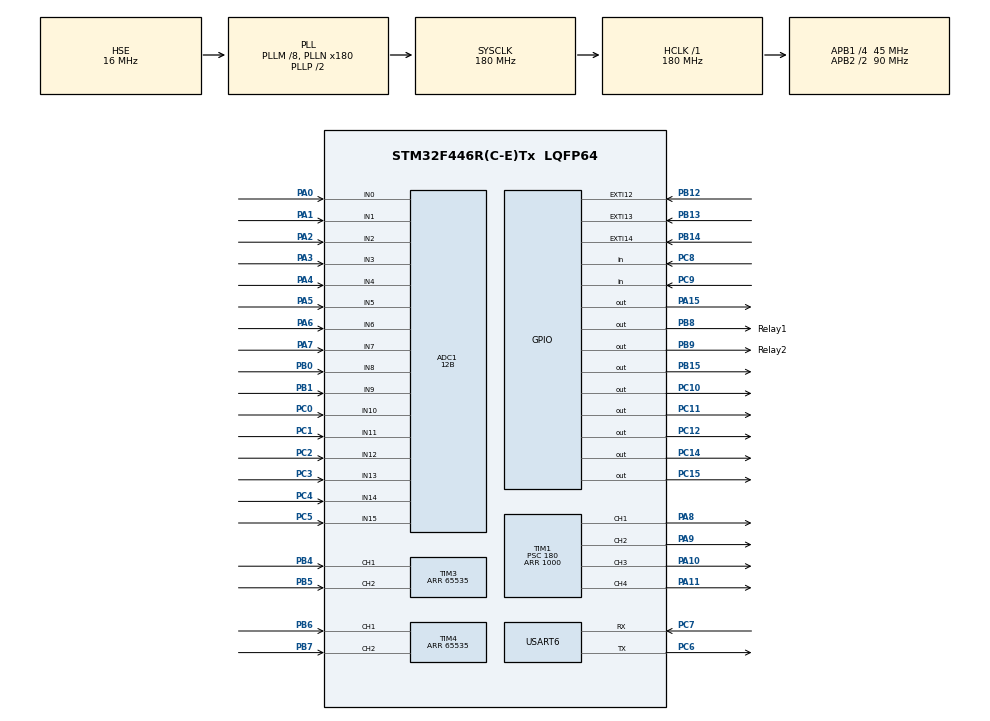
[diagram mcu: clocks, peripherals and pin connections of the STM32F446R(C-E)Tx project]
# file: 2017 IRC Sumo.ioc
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ADC1.Channel-0\#ChannelRegularConversion=ADC_CHANNEL_0
ADC1.Channel-1\#ChannelRegularConversion=ADC_CHANNEL_1
ADC1.Channel-10\#ChannelRegularConversion=ADC_CHANNEL_10
ADC1.Channel-11\#ChannelRegularConversion=ADC_CHANNEL_11
ADC1.Channel-12\#ChannelRegularConversion=ADC_CHANNEL_12
ADC1.Channel-13\#ChannelRegularConversion=ADC_CHANNEL_13
ADC1.Channel-14\#ChannelRegularConversion=ADC_CHANNEL_14
ADC1.Channel-15\#ChannelRegularConversion=ADC_CHANNEL_15
ADC1.Channel-2\#ChannelRegularConversion=ADC_CHANNEL_2
ADC1.Channel-3\#ChannelRegularConversion=ADC_CHANNEL_3
ADC1.Channel-4\#ChannelRegularConversion=ADC_CHANNEL_4
ADC1.Channel-5\#ChannelRegularConversion=ADC_CHANNEL_5
ADC1.Channel-6\#ChannelRegularConversion=ADC_CHANNEL_6
ADC1.Channel-7\#ChannelRegularConversion=ADC_CHANNEL_7
ADC1.Channel-8\#ChannelRegularConversion=ADC_CHANNEL_8
ADC1.Channel-9\#ChannelRegularConversion=ADC_CHANNEL_9
ADC1.ClockPrescaler=ADC_CLOCK_SYNC_PCLK_DIV4
ADC1.ContinuousConvMode=ENABLE
ADC1.DMAContinuousRequests=ENABLE
ADC1.DataAlign=ADC_DATAALIGN_RIGHT
ADC1.DiscontinuousConvMode=DISABLE
ADC1.EOCSelection=ADC_EOC_SINGLE_CONV
ADC1.EnableAnalogWatchDog=false
ADC1.ExternalTrigConv=ADC_SOFTWARE_START
ADC1.ExternalTrigConvEdge=ADC_EXTERNALTRIGCONVEDGE_NONE
ADC1.InjNumberOfConversion=0
ADC1.NbrOfConversion=16
ADC1.NbrOfConversionFlag=1
ADC1.Rank-0\#ChannelRegularConversion=1
ADC1.Rank-1\#ChannelRegularConversion=2
ADC1.Rank-10\#ChannelRegularConversion=11
ADC1.Rank-11\#ChannelRegularConversion=12
ADC1.Rank-12\#ChannelRegularConversion=13
ADC1.Rank-13\#ChannelRegularConversion=14
ADC1.Rank-14\#ChannelRegularConversion=15
ADC1.Rank-15\#ChannelRegularConversion=16
ADC1.Rank-2\#ChannelRegularConversion=3
ADC1.Rank-3\#ChannelRegularConversion=4
ADC1.Rank-4\#ChannelRegularConversion=5
ADC1.Rank-5\#ChannelRegularConversion=6
ADC1.Rank-6\#ChannelRegularConversion=7
ADC1.Rank-7\#ChannelRegularConversion=8
ADC1.Rank-8\#ChannelRegularConversion=9
ADC1.Rank-9\#ChannelRegularConversion=10
ADC1.Resolution=ADC_RESOLUTION_12B
ADC1.SamplingTime-0\#ChannelRegularConversion=ADC_SAMPLETIME_144CYCLES
ADC1.SamplingTime-1\#ChannelRegularConversion=ADC_SAMPLETIME_144CYCLES
ADC1.SamplingTime-10\#ChannelRegularConversion=ADC_SAMPLETIME_144CYCLES
ADC1.SamplingTime-11\#ChannelRegularConversion=ADC_SAMPLETIME_144CYCLES
ADC1.SamplingTime-12\#ChannelRegularConversion=ADC_SAMPLETIME_144CYCLES
ADC1.SamplingTime-13\#ChannelRegularConversion=ADC_SAMPLETIME_144CYCLES
ADC1.SamplingTime-14\#ChannelRegularConversion=ADC_SAMPLETIME_144CYCLES
ADC1.SamplingTime-15\#ChannelRegularConversion=ADC_SAMPLETIME_144CYCLES
ADC1.SamplingTime-2\#ChannelRegularConversion=ADC_SAMPLETIME_144CYCLES
ADC1.SamplingTime-3\#ChannelRegularConversion=ADC_SAMPLETIME_144CYCLES
ADC1.SamplingTime-4\#ChannelRegularConversion=ADC_SAMPLETIME_144CYCLES
ADC1.SamplingTime-5\#ChannelRegularConversion=ADC_SAMPLETIME_144CYCLES
ADC1.SamplingTime-6\#ChannelRegularConversion=ADC_SAMPLETIME_144CYCLES
ADC1.SamplingTime-7\#ChannelRegularConversion=ADC_SAMPLETIME_144CYCLES
ADC1.SamplingTime-8\#ChannelRegularConversion=ADC_SAMPLETIME_144CYCLES
ADC1.SamplingTime-9\#ChannelRegularConversion=ADC_SAMPLETIME_144CYCLES
ADC1.ScanConvMode=ENABLE
ADC1.master=1
Dma.ADC1.0.Direction=DMA_PERIPH_TO_MEMORY
Dma.ADC1.0.FIFOMode=DMA_FIFOMODE_DISABLE
Dma.ADC1.0.Instance=DMA2_Stream0
Dma.ADC1.0.MemDataAlignment=DMA_MDATAALIGN_WORD
Dma.ADC1.0.MemInc=DMA_MINC_ENABLE
Dma.ADC1.0.Mode=DMA_CIRCULAR
Dma.ADC1.0.PeriphDataAlignment=DMA_PDATAALIGN_WORD
Dma.ADC1.0.PeriphInc=DMA_PINC_DISABLE
Dma.ADC1.0.Priority=DMA_PRIORITY_LOW
Dma.Request0=ADC1
FREERTOS.Tasks01=defaultTask,0,128,StartDefaultTask,Default,NULL
Mcu.Family=STM32F4
Mcu.Name=STM32F446R(C-E)Tx
Mcu.Package=LQFP64
NVIC.ADC_IRQn=true\:5\:0\:false\:false\:true\:true
NVIC.DMA2_Stream0_IRQn=true\:5\:0\:false\:false\:true\:true
NVIC.EXTI15_10_IRQn=true\:5\:0\:false\:false\:true\:true
NVIC.PriorityGroup=NVIC_PRIORITYGROUP_4
NVIC.RCC_IRQn=true\:5\:0\:false\:false\:true\:true
NVIC.TIM3_IRQn=true\:5\:0\:false\:false\:true\:true
NVIC.TIM4_IRQn=true\:5\:0\:false\:false\:true\:true
NVIC.USART6_IRQn=true\:5\:0\:false\:false\:true\:true
PA0-WKUP.Signal=ADCx_IN0
PA1.Signal=ADCx_IN1
PA10.Signal=S_TIM1_CH3
PA11.Signal=S_TIM1_CH4
PA13.Signal=SYS_JTMS-SWDIO
PA14.Signal=SYS_JTCK-SWCLK
PA15.Signal=GPIO_Output
PA2.Signal=ADCx_IN2
PA3.Signal=ADCx_IN3
PA4.Signal=ADCx_IN4
PA5.Signal=ADCx_IN5
PA6.Signal=ADCx_IN6
PA7.Signal=ADCx_IN7
PA8.Signal=S_TIM1_CH1
PA9.Signal=S_TIM1_CH2
PB0.Signal=ADCx_IN8
PB1.Signal=ADCx_IN9
PB12.GPIO_ModeDefaultEXTI=GPIO_MODE_IT_RISING
PB12.GPIO_PuPd=GPIO_NOPULL
PB12.Signal=GPXTI12
PB13.GPIO_ModeDefaultEXTI=GPIO_MODE_IT_RISING
PB13.GPIO_PuPd=GPIO_NOPULL
PB13.Signal=GPXTI13
PB14.GPIO_ModeDefaultEXTI=GPIO_MODE_IT_RISING
PB14.GPIO_PuPd=GPIO_NOPULL
PB14.Signal=GPXTI14
PB15.Signal=GPIO_Output
PB4.GPIO_PuPd=GPIO_PULLUP
PB4.Signal=S_TIM3_CH1
PB5.GPIO_PuPd=GPIO_PULLUP
PB5.Signal=S_TIM3_CH2
PB6.GPIO_PuPd=GPIO_PULLUP
PB6.Signal=S_TIM4_CH1
PB7.GPIO_PuPd=GPIO_PULLUP
PB7.Signal=S_TIM4_CH2
PB8.GPIO_Label=Relay1
PB8.Signal=GPIO_Output
PB9.GPIO_Label=Relay2
PB9.Signal=GPIO_Output
PC0.Signal=ADCx_IN10
PC1.Signal=ADCx_IN11
PC10.Signal=GPIO_Output
PC11.Signal=GPIO_Output
PC12.Signal=GPIO_Output
PC14-OSC32_IN.Signal=GPIO_Output
PC15-OSC32_OUT.Signal=GPIO_Output
PC2.Signal=ADCx_IN12
PC3.Signal=ADCx_IN13
PC4.Signal=ADCx_IN14
PC5.Signal=ADCx_IN15
PC6.Mode=Asynchronous
PC6.Signal=USART6_TX
PC7.Mode=Asynchronous
PC7.Signal=USART6_RX
PC8.Signal=GPIO_Input
PC9.Signal=GPIO_Input
PH0-OSC_IN.Mode=HSE-External-Oscillator
PH0-OSC_IN.Signal=RCC_OSC_IN
PH1-OSC_OUT.Mode=HSE-External-Oscillator
PH1-OSC_OUT.Signal=RCC_OSC_OUT
ProjectManager.HeapSize=0x200
ProjectManager.StackSize=0x400
ProjectManager.TargetToolchain=EWARM
RCC.AHBFreq_Value=180000000
RCC.APB1CLKDivider=RCC_HCLK_DIV4
RCC.APB1Freq_Value=45000000
RCC.APB1TimFreq_Value=90000000
RCC.APB2CLKDivider=RCC_HCLK_DIV2
RCC.APB2Freq_Value=90000000
RCC.APB2TimFreq_Value=180000000
RCC.CortexFreq_Value=180000000
RCC.HCLKFreq_Value=180000000
RCC.HSE_VALUE=16000000
RCC.PLLM=8
RCC.PLLN=180
RCC.PLLSourceVirtual=RCC_PLLSOURCE_HSE
RCC.SYSCLKFreq_VALUE=180000000
RCC.SYSCLKSource=RCC_SYSCLKSOURCE_PLLCLK
RCC.USBFreq_Value=180000000
RCC.VCOOutputFreq_Value=360000000
SH.ADCx_IN0.0=ADC1_IN0,IN0
SH.ADCx_IN1.0=ADC1_IN1,IN1
SH.ADCx_IN10.0=ADC1_IN10,IN10
SH.ADCx_IN11.0=ADC1_IN11,IN11
SH.ADCx_IN12.0=ADC1_IN12,IN12
SH.ADCx_IN13.0=ADC1_IN13,IN13
SH.ADCx_IN14.0=ADC1_IN14,IN14
SH.ADCx_IN15.0=ADC1_IN15,IN15
SH.ADCx_IN2.0=ADC1_IN2,IN2
SH.ADCx_IN3.0=ADC1_IN3,IN3
SH.ADCx_IN4.0=ADC1_IN4,IN4
SH.ADCx_IN5.0=ADC1_IN5,IN5
SH.ADCx_IN6.0=ADC1_IN6,IN6
SH.ADCx_IN7.0=ADC1_IN7,IN7
SH.ADCx_IN8.0=ADC1_IN8,IN8
SH.ADCx_IN9.0=ADC1_IN9,IN9
SH.S_TIM1_CH1.0=TIM1_CH1,PWM Generation1 CH1
SH.S_TIM1_CH2.0=TIM1_CH2,PWM Generation2 CH2
SH.S_TIM1_CH3.0=TIM1_CH3,PWM Generation3 CH3
SH.S_TIM1_CH4.0=TIM1_CH4,PWM Generation4 CH4
SH.S_TIM3_CH1.0=TIM3_CH1,Encoder_Interface
SH.S_TIM3_CH2.0=TIM3_CH2,Encoder_Interface
SH.S_TIM4_CH1.0=TIM4_CH1,Encoder_Interface
SH.S_TIM4_CH2.0=TIM4_CH2,Encoder_Interface
TIM1.Channel-PWM\ Generation1\ CH1=TIM_CHANNEL_1
TIM1.Channel-PWM\ Generation2\ CH2=TIM_CHANNEL_2
TIM1.Channel-PWM\ Generation3\ CH3=TIM_CHANNEL_3
TIM1.Channel-PWM\ Generation4\ CH4=TIM_CHANNEL_4
TIM1.Period=1000
TIM1.Prescaler=180
TIM3.EncoderMode=TIM_ENCODERMODE_TI12
TIM3.IC1Filter=5
TIM3.IC2Filter=5
TIM3.Period=65535
TIM4.EncoderMode=TIM_ENCODERMODE_TI12
TIM4.IC1Filter=5
TIM4.IC2Filter=5
TIM4.Period=65535
TIM6.Period=1000
TIM6.Prescaler=8999
TIM7.Period=5000
TIM7.Prescaler=8999
USART6.VirtualMode=VM_ASYNC
VP_FREERTOS_VS_ENABLE.Mode=Enabled
VP_TIM6_VS_ClockSourceINT.Mode=Enable_Timer
VP_TIM7_VS_ClockSourceINT.Mode=Enable_Timer
board=2017 IRC Sumo

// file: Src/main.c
/**
  ******************************************************************************
  * File Name          : main.c
  * Description        : Main program body
  ******************************************************************************
  * This notice applies to any and all portions of this file
  * that are not between comment pairs USER CODE BEGIN and
  * USER CODE END. Other portions of this file, whether
  * inserted by the user or by software development tools
  * are owned by their respective copyright owners.
  *
  * Copyright (c) 2017 STMicroelectronics International N.V.
  * All rights reserved.
  *
  * Redistribution and use in source and binary forms, with or without
  * modification, are permitted, provided that the following conditions are met:
  *
  * 1. Redistribution of source code must retain the above copyright notice,
  *    this list of conditions and the following disclaimer.
  * 2. Redistributions in binary form must reproduce the above copyright notice,
  *    this list of conditions and the following disclaimer in the documentation
  *    and/or other materials provided with the distribution.
  * 3. Neither the name of STMicroelectronics nor the names of other
  *    contributors to this software may be used to endorse or promote products
  *    derived from this software without specific written permission.
  * 4. This software, including modifications and/or derivative works of this
  *    software, must execute solely and exclusively on microcontroller or
  *    microprocessor devices manufactured by or for STMicroelectronics.
  * 5. Redistribution and use of this software other than as permitted under
  *    this license is void and will automatically terminate your rights under
  *    this license.
  *
  * THIS SOFTWARE IS PROVIDED BY STMICROELECTRONICS AND CONTRIBUTORS "AS IS"
  * AND ANY EXPRESS, IMPLIED OR STATUTORY WARRANTIES, INCLUDING, BUT NOT
  * LIMITED TO, THE IMPLIED WARRANTIES OF MERCHANTABILITY, FITNESS FOR A
  * PARTICULAR PURPOSE AND NON-INFRINGEMENT OF THIRD PARTY INTELLECTUAL PROPERTY
  * RIGHTS ARE DISCLAIMED TO THE FULLEST EXTENT PERMITTED BY LAW. IN NO EVENT
  * SHALL STMICROELECTRONICS OR CONTRIBUTORS BE LIABLE FOR ANY DIRECT, INDIRECT,
  * INCIDENTAL, SPECIAL, EXEMPLARY, OR CONSEQUENTIAL DAMAGES (INCLUDING, BUT NOT
  * LIMITED TO, PROCUREMENT OF SUBSTITUTE GOODS OR SERVICES; LOSS OF USE, DATA,
  * OR PROFITS; OR BUSINESS INTERRUPTION) HOWEVER CAUSED AND ON ANY THEORY OF
  * LIABILITY, WHETHER IN CONTRACT, STRICT LIABILITY, OR TORT (INCLUDING
  * NEGLIGENCE OR OTHERWISE) ARISING IN ANY WAY OUT OF THE USE OF THIS SOFTWARE,
  * EVEN IF ADVISED OF THE POSSIBILITY OF SUCH DAMAGE.
  *
  ******************************************************************************
  */
#include "main.h"
#include "stm32f4xx_hal.h"
#include "cmsis_os.h"

/* USER CODE BEGIN Includes */

#include "pid_control_long.h"

/* USER CODE END Includes */

ADC_HandleTypeDef hadc1;
DMA_HandleTypeDef hdma_adc1;

TIM_HandleTypeDef htim1;
TIM_HandleTypeDef htim3;
TIM_HandleTypeDef htim4;
TIM_HandleTypeDef htim6;
TIM_HandleTypeDef htim7;

UART_HandleTypeDef huart6;

osThreadId defaultTaskHandle;

/* USER CODE BEGIN PV */
/* Private variables ---------------------------------------------------------*/

LPID motor1;
LPID motor2;

unsigned int encoderCount1;
unsigned int pastEncoderCount1;
int deltaEncoder1;
long targetEncoder1 = 0;

unsigned int encoderCount2;
unsigned int pastEncoderCount2;
int deltaEncoder2;
long targetEncoder2 = 0;

unsigned int adcValue[16] = {0,};

unsigned int psdValue[10] = {0,};
unsigned int cdsValue[2] = {0,};
unsigned int irValue[4] = {0,};

unsigned int extInturruptTest;

unsigned int toggleSwitchTest1;
unsigned int toggleSwitchTest2;

/* USER CODE END PV */

void SystemClock_Config(void);
static void MX_GPIO_Init(void);
static void MX_DMA_Init(void);
static void MX_ADC1_Init(void);
static void MX_TIM1_Init(void);
static void MX_TIM3_Init(void);
static void MX_TIM4_Init(void);
static void MX_USART6_UART_Init(void);
static void MX_TIM6_Init(void);
static void MX_TIM7_Init(void);
void StartDefaultTask(void const * argument);

void HAL_TIM_MspPostInit(TIM_HandleTypeDef *htim);

/* USER CODE BEGIN PFP */
/* Private function prototypes -----------------------------------------------*/

/* USER CODE END PFP */

int main(void)
{

  /* MCU Configuration----------------------------------------------------------*/

  /* Reset of all peripherals, Initializes the Flash interface and the Systick. */
  HAL_Init();

  /* USER CODE BEGIN Init */
  PID_Control_Long_Initialize(&motor1);
  PID_Control_Long_Initialize(&motor2);

  /* USER CODE END Init */

  /* Configure the system clock */
  SystemClock_Config();

  /* Initialize all configured peripherals */
  MX_GPIO_Init();
  MX_DMA_Init();
  MX_ADC1_Init();
  MX_TIM1_Init();
  MX_TIM3_Init();
  MX_TIM4_Init();
  MX_USART6_UART_Init();
  MX_TIM6_Init();
  MX_TIM7_Init();

  /* USER CODE BEGIN 2 */
  HAL_TIM_PWM_Start(&htim1,TIM_CHANNEL_1);
  HAL_TIMEx_PWMN_Start(&htim1,TIM_CHANNEL_1);
  HAL_TIM_PWM_Start(&htim1,TIM_CHANNEL_2);
  HAL_TIMEx_PWMN_Start(&htim1,TIM_CHANNEL_2);
  HAL_TIM_PWM_Start(&htim1,TIM_CHANNEL_3);
  HAL_TIMEx_PWMN_Start(&htim1,TIM_CHANNEL_3);
  HAL_TIM_PWM_Start(&htim1,TIM_CHANNEL_4);
  HAL_TIMEx_PWMN_Start(&htim1,TIM_CHANNEL_4);

  HAL_TIM_Encoder_Start(&htim4,TIM_CHANNEL_4);
  HAL_TIM_Encoder_Start(&htim3,TIM_CHANNEL_3);

  HAL_GPIO_TogglePin(GPIOB, GPIO_PIN_8);
  HAL_GPIO_TogglePin(GPIOB, GPIO_PIN_9);

  extInturruptTest = 0;

  HAL_ADC_Start_DMA(&hadc1, (uint32_t *)adcValue, 16);

  void StartDefaultTaskSecond(void const * argument);

  osThreadDef(defaultTaskSecond, StartDefaultTaskSecond, osPriorityNormal, 0, 128);
  defaultTaskHandle = osThreadCreate(osThread(defaultTaskSecond), NULL);

//  void StartDefaultTaskOne(void const* argument);
//  void StartDefaultTaskTwo(void const* argument);

  /* USER CODE END 2 */

  /* Create the thread(s) */
  /* definition and creation of defaultTask */
  osThreadDef(defaultTask, StartDefaultTask, osPriorityNormal, 0, 128);
  defaultTaskHandle = osThreadCreate(osThread(defaultTask), NULL);

  /* Start scheduler */
  osKernelStart();

  /* We should never get here as control is now taken by the scheduler */

  /* Infinite loop */
  while (1)
  {

  }

}

/** System Clock Configuration
*/
void SystemClock_Config(void)
{

  RCC_OscInitTypeDef RCC_OscInitStruct;
  RCC_ClkInitTypeDef RCC_ClkInitStruct;

    /**Configure the main internal regulator output voltage
    */
  __HAL_RCC_PWR_CLK_ENABLE();

  __HAL_PWR_VOLTAGESCALING_CONFIG(PWR_REGULATOR_VOLTAGE_SCALE1);

    /**Initializes the CPU, AHB and APB busses clocks
    */
  RCC_OscInitStruct.OscillatorType = RCC_OSCILLATORTYPE_HSE;
  RCC_OscInitStruct.HSEState = RCC_HSE_ON;
  RCC_OscInitStruct.PLL.PLLState = RCC_PLL_ON;
  RCC_OscInitStruct.PLL.PLLSource = RCC_PLLSOURCE_HSE;
  RCC_OscInitStruct.PLL.PLLM = 8;
  RCC_OscInitStruct.PLL.PLLN = 180;
  RCC_OscInitStruct.PLL.PLLP = RCC_PLLP_DIV2;
  RCC_OscInitStruct.PLL.PLLQ = 2;
  RCC_OscInitStruct.PLL.PLLR = 2;
  if (HAL_RCC_OscConfig(&RCC_OscInitStruct) != HAL_OK)
  {
    _Error_Handler(__FILE__, __LINE__);
  }

    /**Activate the Over-Drive mode
    */
  if (HAL_PWREx_EnableOverDrive() != HAL_OK)
  {
    _Error_Handler(__FILE__, __LINE__);
  }

    /**Initializes the CPU, AHB and APB busses clocks
    */
  RCC_ClkInitStruct.ClockType = RCC_CLOCKTYPE_HCLK|RCC_CLOCKTYPE_SYSCLK
                              |RCC_CLOCKTYPE_PCLK1|RCC_CLOCKTYPE_PCLK2;
  RCC_ClkInitStruct.SYSCLKSource = RCC_SYSCLKSOURCE_PLLCLK;
  RCC_ClkInitStruct.AHBCLKDivider = RCC_SYSCLK_DIV1;
  RCC_ClkInitStruct.APB1CLKDivider = RCC_HCLK_DIV4;
  RCC_ClkInitStruct.APB2CLKDivider = RCC_HCLK_DIV2;

  if (HAL_RCC_ClockConfig(&RCC_ClkInitStruct, FLASH_LATENCY_5) != HAL_OK)
  {
    _Error_Handler(__FILE__, __LINE__);
  }

    /**Configure the Systick interrupt time
    */
  HAL_SYSTICK_Config(HAL_RCC_GetHCLKFreq()/1000);

    /**Configure the Systick
    */
  HAL_SYSTICK_CLKSourceConfig(SYSTICK_CLKSOURCE_HCLK);

  /* SysTick_IRQn interrupt configuration */
  HAL_NVIC_SetPriority(SysTick_IRQn, 15, 0);
}

/* ADC1 init function */
static void MX_ADC1_Init(void)
{

  ADC_ChannelConfTypeDef sConfig;

    /**Configure the global features of the ADC (Clock, Resolution, Data Alignment and number of conversion)
    */
  hadc1.Instance = ADC1;
  hadc1.Init.ClockPrescaler = ADC_CLOCK_SYNC_PCLK_DIV4;
  hadc1.Init.Resolution = ADC_RESOLUTION_12B;
  hadc1.Init.ScanConvMode = ENABLE;
  hadc1.Init.ContinuousConvMode = ENABLE;
  hadc1.Init.DiscontinuousConvMode = DISABLE;
  hadc1.Init.ExternalTrigConvEdge = ADC_EXTERNALTRIGCONVEDGE_NONE;
  hadc1.Init.ExternalTrigConv = ADC_SOFTWARE_START;
  hadc1.Init.DataAlign = ADC_DATAALIGN_RIGHT;
  hadc1.Init.NbrOfConversion = 16;
  hadc1.Init.DMAContinuousRequests = ENABLE;
  hadc1.Init.EOCSelection = ADC_EOC_SINGLE_CONV;
  if (HAL_ADC_Init(&hadc1) != HAL_OK)
  {
    _Error_Handler(__FILE__, __LINE__);
  }

    /**Configure for the selected ADC regular channel its corresponding rank in the sequencer and its sample time.
    */
  sConfig.Channel = ADC_CHANNEL_0;
  sConfig.Rank = 1;
  sConfig.SamplingTime = ADC_SAMPLETIME_144CYCLES;
  if (HAL_ADC_ConfigChannel(&hadc1, &sConfig) != HAL_OK)
  {
    _Error_Handler(__FILE__, __LINE__);
  }

    /**Configure for the selected ADC regular channel its corresponding rank in the sequencer and its sample time.
    */
  sConfig.Channel = ADC_CHANNEL_1;
  sConfig.Rank = 2;
  if (HAL_ADC_ConfigChannel(&hadc1, &sConfig) != HAL_OK)
  {
    _Error_Handler(__FILE__, __LINE__);
  }

    /**Configure for the selected ADC regular channel its corresponding rank in the sequencer and its sample time.
    */
  sConfig.Channel = ADC_CHANNEL_2;
  sConfig.Rank = 3;
  if (HAL_ADC_ConfigChannel(&hadc1, &sConfig) != HAL_OK)
  {
    _Error_Handler(__FILE__, __LINE__);
  }

    /**Configure for the selected ADC regular channel its corresponding rank in the sequencer and its sample time.
    */
  sConfig.Channel = ADC_CHANNEL_3;
  sConfig.Rank = 4;
  if (HAL_ADC_ConfigChannel(&hadc1, &sConfig) != HAL_OK)
  {
    _Error_Handler(__FILE__, __LINE__);
  }

    /**Configure for the selected ADC regular channel its corresponding rank in the sequencer and its sample time.
    */
  sConfig.Channel = ADC_CHANNEL_4;
  sConfig.Rank = 5;
  if (HAL_ADC_ConfigChannel(&hadc1, &sConfig) != HAL_OK)
  {
    _Error_Handler(__FILE__, __LINE__);
  }

    /**Configure for the selected ADC regular channel its corresponding rank in the sequencer and its sample time.
    */
  sConfig.Channel = ADC_CHANNEL_5;
  sConfig.Rank = 6;
  if (HAL_ADC_ConfigChannel(&hadc1, &sConfig) != HAL_OK)
  {
    _Error_Handler(__FILE__, __LINE__);
  }

    /**Configure for the selected ADC regular channel its corresponding rank in the sequencer and its sample time.
    */
  sConfig.Channel = ADC_CHANNEL_6;
  sConfig.Rank = 7;
  if (HAL_ADC_ConfigChannel(&hadc1, &sConfig) != HAL_OK)
  {
    _Error_Handler(__FILE__, __LINE__);
  }

    /**Configure for the selected ADC regular channel its corresponding rank in the sequencer and its sample time.
    */
  sConfig.Channel = ADC_CHANNEL_7;
  sConfig.Rank = 8;
  if (HAL_ADC_ConfigChannel(&hadc1, &sConfig) != HAL_OK)
  {
    _Error_Handler(__FILE__, __LINE__);
  }

    /**Configure for the selected ADC regular channel its corresponding rank in the sequencer and its sample time.
    */
  sConfig.Channel = ADC_CHANNEL_8;
  sConfig.Rank = 9;
  if (HAL_ADC_ConfigChannel(&hadc1, &sConfig) != HAL_OK)
  {
    _Error_Handler(__FILE__, __LINE__);
  }

    /**Configure for the selected ADC regular channel its corresponding rank in the sequencer and its sample time.
    */
  sConfig.Channel = ADC_CHANNEL_9;
  sConfig.Rank = 10;
  if (HAL_ADC_ConfigChannel(&hadc1, &sConfig) != HAL_OK)
  {
    _Error_Handler(__FILE__, __LINE__);
  }

    /**Configure for the selected ADC regular channel its corresponding rank in the sequencer and its sample time.
    */
  sConfig.Channel = ADC_CHANNEL_10;
  sConfig.Rank = 11;
  if (HAL_ADC_ConfigChannel(&hadc1, &sConfig) != HAL_OK)
  {
    _Error_Handler(__FILE__, __LINE__);
  }

    /**Configure for the selected ADC regular channel its corresponding rank in the sequencer and its sample time.
    */
  sConfig.Channel = ADC_CHANNEL_11;
  sConfig.Rank = 12;
  if (HAL_ADC_ConfigChannel(&hadc1, &sConfig) != HAL_OK)
  {
    _Error_Handler(__FILE__, __LINE__);
  }

    /**Configure for the selected ADC regular channel its corresponding rank in the sequencer and its sample time.
    */
  sConfig.Channel = ADC_CHANNEL_12;
  sConfig.Rank = 13;
  if (HAL_ADC_ConfigChannel(&hadc1, &sConfig) != HAL_OK)
  {
    _Error_Handler(__FILE__, __LINE__);
  }

    /**Configure for the selected ADC regular channel its corresponding rank in the sequencer and its sample time.
    */
  sConfig.Channel = ADC_CHANNEL_13;
  sConfig.Rank = 14;
  if (HAL_ADC_ConfigChannel(&hadc1, &sConfig) != HAL_OK)
  {
    _Error_Handler(__FILE__, __LINE__);
  }

    /**Configure for the selected ADC regular channel its corresponding rank in the sequencer and its sample time.
    */
  sConfig.Channel = ADC_CHANNEL_14;
  sConfig.Rank = 15;
  if (HAL_ADC_ConfigChannel(&hadc1, &sConfig) != HAL_OK)
  {
    _Error_Handler(__FILE__, __LINE__);
  }

    /**Configure for the selected ADC regular channel its corresponding rank in the sequencer and its sample time.
    */
  sConfig.Channel = ADC_CHANNEL_15;
  sConfig.Rank = 16;
  if (HAL_ADC_ConfigChannel(&hadc1, &sConfig) != HAL_OK)
  {
    _Error_Handler(__FILE__, __LINE__);
  }

}

/* TIM1 init function */
static void MX_TIM1_Init(void)
{

  TIM_MasterConfigTypeDef sMasterConfig;
  TIM_OC_InitTypeDef sConfigOC;
  TIM_BreakDeadTimeConfigTypeDef sBreakDeadTimeConfig;

  htim1.Instance = TIM1;
  htim1.Init.Prescaler = 180;
  htim1.Init.CounterMode = TIM_COUNTERMODE_UP;
  htim1.Init.Period = 1000;
  htim1.Init.ClockDivision = TIM_CLOCKDIVISION_DIV1;
  htim1.Init.RepetitionCounter = 0;
  if (HAL_TIM_PWM_Init(&htim1) != HAL_OK)
  {
    _Error_Handler(__FILE__, __LINE__);
  }

  sMasterConfig.MasterOutputTrigger = TIM_TRGO_RESET;
  sMasterConfig.MasterSlaveMode = TIM_MASTERSLAVEMODE_DISABLE;
  if (HAL_TIMEx_MasterConfigSynchronization(&htim1, &sMasterConfig) != HAL_OK)
  {
    _Error_Handler(__FILE__, __LINE__);
  }

  sConfigOC.OCMode = TIM_OCMODE_PWM1;
  sConfigOC.Pulse = 0;
  sConfigOC.OCPolarity = TIM_OCPOLARITY_HIGH;
  sConfigOC.OCNPolarity = TIM_OCNPOLARITY_HIGH;
  sConfigOC.OCFastMode = TIM_OCFAST_DISABLE;
  sConfigOC.OCIdleState = TIM_OCIDLESTATE_RESET;
  sConfigOC.OCNIdleState = TIM_OCNIDLESTATE_RESET;
  if (HAL_TIM_PWM_ConfigChannel(&htim1, &sConfigOC, TIM_CHANNEL_1) != HAL_OK)
  {
    _Error_Handler(__FILE__, __LINE__);
  }

  if (HAL_TIM_PWM_ConfigChannel(&htim1, &sConfigOC, TIM_CHANNEL_2) != HAL_OK)
  {
    _Error_Handler(__FILE__, __LINE__);
  }

  if (HAL_TIM_PWM_ConfigChannel(&htim1, &sConfigOC, TIM_CHANNEL_3) != HAL_OK)
  {
    _Error_Handler(__FILE__, __LINE__);
  }

  if (HAL_TIM_PWM_ConfigChannel(&htim1, &sConfigOC, TIM_CHANNEL_4) != HAL_OK)
  {
    _Error_Handler(__FILE__, __LINE__);
  }

  sBreakDeadTimeConfig.OffStateRunMode = TIM_OSSR_DISABLE;
  sBreakDeadTimeConfig.OffStateIDLEMode = TIM_OSSI_DISABLE;
  sBreakDeadTimeConfig.LockLevel = TIM_LOCKLEVEL_OFF;
  sBreakDeadTimeConfig.DeadTime = 0;
  sBreakDeadTimeConfig.BreakState = TIM_BREAK_DISABLE;
  sBreakDeadTimeConfig.BreakPolarity = TIM_BREAKPOLARITY_HIGH;
  sBreakDeadTimeConfig.AutomaticOutput = TIM_AUTOMATICOUTPUT_DISABLE;
  if (HAL_TIMEx_ConfigBreakDeadTime(&htim1, &sBreakDeadTimeConfig) != HAL_OK)
  {
    _Error_Handler(__FILE__, __LINE__);
  }

  HAL_TIM_MspPostInit(&htim1);

}

/* TIM3 init function */
static void MX_TIM3_Init(void)
{

  TIM_Encoder_InitTypeDef sConfig;
  TIM_MasterConfigTypeDef sMasterConfig;

  htim3.Instance = TIM3;
  htim3.Init.Prescaler = 0;
  htim3.Init.CounterMode = TIM_COUNTERMODE_UP;
  htim3.Init.Period = 65535;
  htim3.Init.ClockDivision = TIM_CLOCKDIVISION_DIV1;
  sConfig.EncoderMode = TIM_ENCODERMODE_TI12;
  sConfig.IC1Polarity = TIM_ICPOLARITY_RISING;
  sConfig.IC1Selection = TIM_ICSELECTION_DIRECTTI;
  sConfig.IC1Prescaler = TIM_ICPSC_DIV1;
  sConfig.IC1Filter = 5;
  sConfig.IC2Polarity = TIM_ICPOLARITY_RISING;
  sConfig.IC2Selection = TIM_ICSELECTION_DIRECTTI;
  sConfig.IC2Prescaler = TIM_ICPSC_DIV1;
  sConfig.IC2Filter = 5;
  if (HAL_TIM_Encoder_Init(&htim3, &sConfig) != HAL_OK)
  {
    _Error_Handler(__FILE__, __LINE__);
  }

  sMasterConfig.MasterOutputTrigger = TIM_TRGO_RESET;
  sMasterConfig.MasterSlaveMode = TIM_MASTERSLAVEMODE_DISABLE;
  if (HAL_TIMEx_MasterConfigSynchronization(&htim3, &sMasterConfig) != HAL_OK)
  {
    _Error_Handler(__FILE__, __LINE__);
  }

}

/* TIM4 init function */
static void MX_TIM4_Init(void)
{

  TIM_Encoder_InitTypeDef sConfig;
  TIM_MasterConfigTypeDef sMasterConfig;

  htim4.Instance = TIM4;
  htim4.Init.Prescaler = 0;
  htim4.Init.CounterMode = TIM_COUNTERMODE_UP;
  htim4.Init.Period = 65535;
  htim4.Init.ClockDivision = TIM_CLOCKDIVISION_DIV1;
  sConfig.EncoderMode = TIM_ENCODERMODE_TI12;
  sConfig.IC1Polarity = TIM_ICPOLARITY_RISING;
  sConfig.IC1Selection = TIM_ICSELECTION_DIRECTTI;
  sConfig.IC1Prescaler = TIM_ICPSC_DIV1;
  sConfig.IC1Filter = 5;
  sConfig.IC2Polarity = TIM_ICPOLARITY_RISING;
  sConfig.IC2Selection = TIM_ICSELECTION_DIRECTTI;
  sConfig.IC2Prescaler = TIM_ICPSC_DIV1;
  sConfig.IC2Filter = 5;
  if (HAL_TIM_Encoder_Init(&htim4, &sConfig) != HAL_OK)
  {
    _Error_Handler(__FILE__, __LINE__);
  }

  sMasterConfig.MasterOutputTrigger = TIM_TRGO_RESET;
  sMasterConfig.MasterSlaveMode = TIM_MASTERSLAVEMODE_DISABLE;
  if (HAL_TIMEx_MasterConfigSynchronization(&htim4, &sMasterConfig) != HAL_OK)
  {
    _Error_Handler(__FILE__, __LINE__);
  }

}

/* TIM6 init function */
static void MX_TIM6_Init(void)
{

  TIM_MasterConfigTypeDef sMasterConfig;

  htim6.Instance = TIM6;
  htim6.Init.Prescaler = 8999;
  htim6.Init.CounterMode = TIM_COUNTERMODE_UP;
  htim6.Init.Period = 1000;
  if (HAL_TIM_Base_Init(&htim6) != HAL_OK)
  {
    _Error_Handler(__FILE__, __LINE__);
  }

  sMasterConfig.MasterOutputTrigger = TIM_TRGO_RESET;
  sMasterConfig.MasterSlaveMode = TIM_MASTERSLAVEMODE_DISABLE;
  if (HAL_TIMEx_MasterConfigSynchronization(&htim6, &sMasterConfig) != HAL_OK)
  {
    _Error_Handler(__FILE__, __LINE__);
  }

}

/* TIM7 init function */
static void MX_TIM7_Init(void)
{

  TIM_MasterConfigTypeDef sMasterConfig;

  htim7.Instance = TIM7;
  htim7.Init.Prescaler = 8999;
  htim7.Init.CounterMode = TIM_COUNTERMODE_UP;
  htim7.Init.Period = 5000;
  if (HAL_TIM_Base_Init(&htim7) != HAL_OK)
  {
    _Error_Handler(__FILE__, __LINE__);
  }

  sMasterConfig.MasterOutputTrigger = TIM_TRGO_RESET;
  sMasterConfig.MasterSlaveMode = TIM_MASTERSLAVEMODE_DISABLE;
  if (HAL_TIMEx_MasterConfigSynchronization(&htim7, &sMasterConfig) != HAL_OK)
  {
    _Error_Handler(__FILE__, __LINE__);
  }

}

/* USART6 init function */
static void MX_USART6_UART_Init(void)
{

  huart6.Instance = USART6;
  huart6.Init.BaudRate = 115200;
  huart6.Init.WordLength = UART_WORDLENGTH_8B;
  huart6.Init.StopBits = UART_STOPBITS_1;
  huart6.Init.Parity = UART_PARITY_NONE;
  huart6.Init.Mode = UART_MODE_TX_RX;
  huart6.Init.HwFlowCtl = UART_HWCONTROL_NONE;
  huart6.Init.OverSampling = UART_OVERSAMPLING_16;
  if (HAL_UART_Init(&huart6) != HAL_OK)
  {
    _Error_Handler(__FILE__, __LINE__);
  }

}

static void MX_DMA_Init(void)
{
  /* DMA controller clock enable */
  __HAL_RCC_DMA2_CLK_ENABLE();

  /* DMA interrupt init */
  /* DMA2_Stream0_IRQn interrupt configuration */
  HAL_NVIC_SetPriority(DMA2_Stream0_IRQn, 5, 0);
  HAL_NVIC_EnableIRQ(DMA2_Stream0_IRQn);

}

/** Configure pins as
        * Analog
        * Input
        * Output
        * EVENT_OUT
        * EXTI
*/
static void MX_GPIO_Init(void)
{

  GPIO_InitTypeDef GPIO_InitStruct;

  /* GPIO Ports Clock Enable */
  __HAL_RCC_GPIOC_CLK_ENABLE();
  __HAL_RCC_GPIOH_CLK_ENABLE();
  __HAL_RCC_GPIOA_CLK_ENABLE();
  __HAL_RCC_GPIOB_CLK_ENABLE();

  /*Configure GPIO pin Output Level */
  HAL_GPIO_WritePin(GPIOC, GPIO_PIN_14|GPIO_PIN_15|GPIO_PIN_10|GPIO_PIN_11
                          |GPIO_PIN_12, GPIO_PIN_RESET);

  /*Configure GPIO pin Output Level */
  HAL_GPIO_WritePin(GPIOB, GPIO_PIN_15|Relay1_Pin|Relay2_Pin, GPIO_PIN_RESET);

  /*Configure GPIO pin Output Level */
  HAL_GPIO_WritePin(GPIOA, GPIO_PIN_15, GPIO_PIN_RESET);

  /*Configure GPIO pins : PC14 PC15 PC10 PC11
                           PC12 */
  GPIO_InitStruct.Pin = GPIO_PIN_14|GPIO_PIN_15|GPIO_PIN_10|GPIO_PIN_11
                          |GPIO_PIN_12;
  GPIO_InitStruct.Mode = GPIO_MODE_OUTPUT_PP;
  GPIO_InitStruct.Pull = GPIO_NOPULL;
  GPIO_InitStruct.Speed = GPIO_SPEED_FREQ_LOW;
  HAL_GPIO_Init(GPIOC, &GPIO_InitStruct);

  /*Configure GPIO pins : PB12 PB13 PB14 */
  GPIO_InitStruct.Pin = GPIO_PIN_12|GPIO_PIN_13|GPIO_PIN_14;
  GPIO_InitStruct.Mode = GPIO_MODE_IT_RISING;
  GPIO_InitStruct.Pull = GPIO_NOPULL;
  HAL_GPIO_Init(GPIOB, &GPIO_InitStruct);

  /*Configure GPIO pins : PB15 Relay1_Pin Relay2_Pin */
  GPIO_InitStruct.Pin = GPIO_PIN_15|Relay1_Pin|Relay2_Pin;
  GPIO_InitStruct.Mode = GPIO_MODE_OUTPUT_PP;
  GPIO_InitStruct.Pull = GPIO_NOPULL;
  GPIO_InitStruct.Speed = GPIO_SPEED_FREQ_LOW;
  HAL_GPIO_Init(GPIOB, &GPIO_InitStruct);

  /*Configure GPIO pins : PC8 PC9 */
  GPIO_InitStruct.Pin = GPIO_PIN_8|GPIO_PIN_9;
  GPIO_InitStruct.Mode = GPIO_MODE_INPUT;
  GPIO_InitStruct.Pull = GPIO_NOPULL;
  HAL_GPIO_Init(GPIOC, &GPIO_InitStruct);

  /*Configure GPIO pin : PA15 */
  GPIO_InitStruct.Pin = GPIO_PIN_15;
  GPIO_InitStruct.Mode = GPIO_MODE_OUTPUT_PP;
  GPIO_InitStruct.Pull = GPIO_NOPULL;
  GPIO_InitStruct.Speed = GPIO_SPEED_FREQ_LOW;
  HAL_GPIO_Init(GPIOA, &GPIO_InitStruct);

  /* EXTI interrupt init*/
  HAL_NVIC_SetPriority(EXTI15_10_IRQn, 5, 0);
  HAL_NVIC_EnableIRQ(EXTI15_10_IRQn);

}

/* USER CODE BEGIN 4 */

void HAL_GPIO_EXTI_Callback(uint16_t GPIO_Pin)
{
  switch(GPIO_Pin)
  {
  case GPIO_PIN_12:
    extInturruptTest++;
    break;
  case GPIO_PIN_13:
    extInturruptTest--;
    break;
  case GPIO_PIN_14:
    extInturruptTest = 0;
    break;
  default:
    break;
  }
}

/* USER CODE END 4 */

/* StartDefaultTask function */
void StartDefaultTask(void const * argument)
{
  /* USER CODE BEGIN 5 */

  /* Infinite loop */
  for(;;)
  {
    // 센서 종류 정리
    for(int i = 0; i < 10; i++)
    {
      psdValue[i] = adcValue[i];
    }
    cdsValue[0] = adcValue[10];
    cdsValue[1] = adcValue[11];
    for(int j = 0; j < 4; j++)
    {
      irValue[j] = adcValue[j + 12];
    }

    // PID 제어 코드
    encoderCount1 = TIM4->CNT;
    encoderCount2 = TIM3->CNT;
    deltaEncoder1 = (int)encoderCount1 - (int)pastEncoderCount1;
    deltaEncoder2 = (int)encoderCount2 - (int)pastEncoderCount2;
    pastEncoderCount1 = encoderCount1;
    pastEncoderCount2 = encoderCount2;

    PID_Control_Long(&motor1, targetEncoder1, deltaEncoder1);
    PID_Control_Long(&motor2, targetEncoder2, deltaEncoder2);

    if(motor1.nowOutput > 0)
    {
      HAL_GPIO_WritePin(GPIOA, GPIO_PIN_15, GPIO_PIN_RESET);
      TIM1->CCR1 = motor1.nowOutput;
    }
    else
    {
      HAL_GPIO_WritePin(GPIOA, GPIO_PIN_15, GPIO_PIN_SET);
      TIM1->CCR1 = motor1.nowOutput * (-1);
    }

    if(motor2.nowOutput > 0)
    {
      HAL_GPIO_WritePin(GPIOC, GPIO_PIN_10, GPIO_PIN_SET);
      TIM1->CCR2 = motor2.nowOutput;
    }
    else
    {
      HAL_GPIO_WritePin(GPIOC, GPIO_PIN_10, GPIO_PIN_RESET);
      TIM1->CCR2 = motor2.nowOutput * (-1);
    }

    osDelay(10);

    // Toggle Switch 테스트 코드
    /*if(HAL_GPIO_ReadPin(GPIOC, GPIO_PIN_9) != 0)
    {
      toggleSwitchTest1 = 1;
    }
    else
    {
      toggleSwitchTest1 = 0;
    }
    if(HAL_GPIO_ReadPin(GPIOC, GPIO_PIN_8) != 0)
    {
      toggleSwitchTest2 = 1;
    }
    else
    {
      toggleSwitchTest2 = 0;
    }*/

  }
}

void StartDefaultTaskSecond(void const * argument)
{
  /* Infinite loop */
  for(;;)
  {
    // PID 제어 코드

    osDelay(10);
  }
}

void _Error_Handler(char * file, int line)
{
  while(1)
  {
  }
}

/************************ (C) COPYRIGHT STMicroelectronics *****END OF FILE****/
